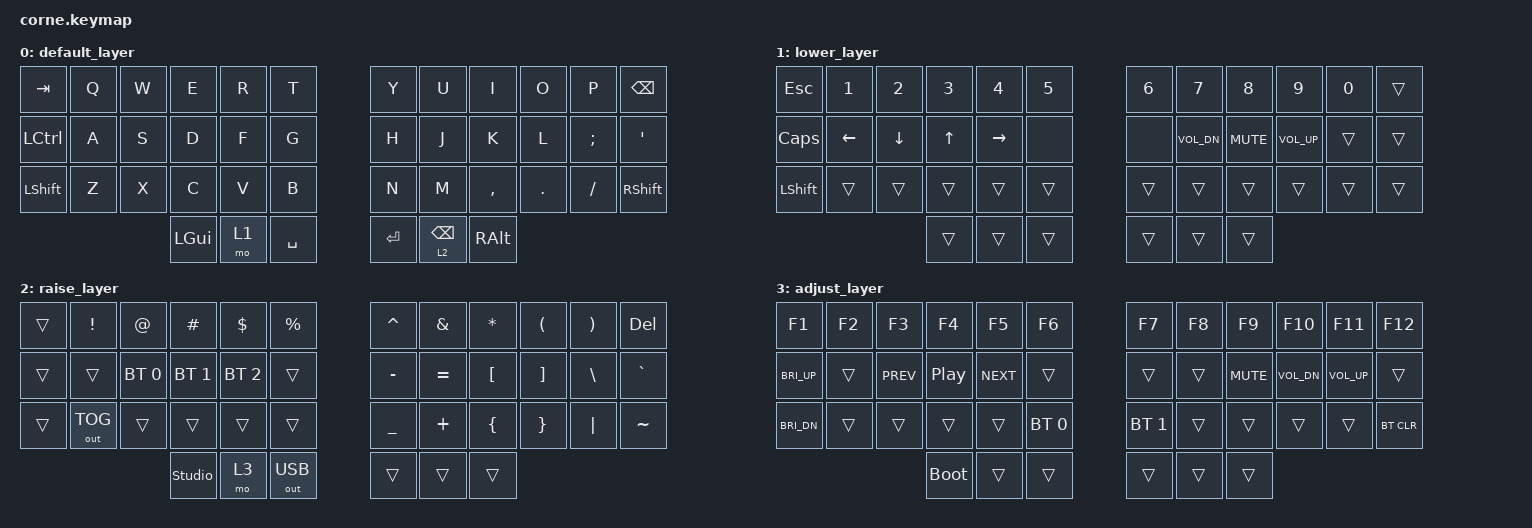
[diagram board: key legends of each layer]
/*
 * Copyright (c) 2020 The ZMK Contributors
 *
 * SPDX-License-Identifier: MIT
 */

#include <behaviors.dtsi>
#include <dt-bindings/zmk/bt.h>
#include <dt-bindings/zmk/keys.h>
#include <dt-bindings/zmk/outputs.h>

#define DEFAULT 0
#define LOWER   1
#define RAISE   2
#define ADJUST  3

/ {
    conditional_layers {
        compatible = "zmk,conditional-layers";

        // LOWER + RAISE 同按 -> ADJUST（F 键 / 媒体 / 蓝牙管理层）
        tri_layer {
            if-layers = <LOWER RAISE>;
            then-layer = <ADJUST>;
        };
    };

    keymap {
        compatible = "zmk,keymap";

        default_layer {
            // -----------------------------------------------------------------------------------------
            // |  TAB |  Q  |  W  |  E  |  R  |  T      |   |  Y         |  U         |  I  |  O  |  P  | BKSP |
            // | CTRL |  A  |  S  |  D  |  F  |  G      |   |  H         |  J         |  K  |  L  |  ;  |  '   |
            // | SHFT |  Z  |  X  |  C  |  V  |  B      |   |  N         |  M         |  ,  |  .  |  /  | SHFT |
            //                    | GUI | LWR |  SPC    |   | ENT        | BKSP/RSE   | ALT |
            //
            // 右侧第 2 枚拇指键（ENT 右边）：点按 = 退格，按住 = RAISE 层

            bindings = <
&kp TAB    &kp Q  &kp W  &kp E     &kp R  &kp T        &kp Y      &kp U            &kp I      &kp O    &kp P     &kp BSPC
&kp LCTRL  &kp A  &kp S  &kp D     &kp F  &kp G        &kp H      &kp J            &kp K      &kp L    &kp SEMI  &kp SQT
&kp LSHFT  &kp Z  &kp X  &kp C     &kp V  &kp B        &kp N      &kp M            &kp COMMA  &kp DOT  &kp FSLH  &kp RSHFT
                         &kp LGUI  &mo 1  &kp SPACE    &kp ENTER  &lt 2 BACKSPACE  &kp RALT
            >;
        };

        lower_layer {
            // -----------------------------------------------------------------------------------------
            // |  ESC |  1  |  2  |  3  |  4  |  5    |   |  6  |  7  |  8  |  9  |  0  | BKSP |
            // | CAPS | LFT | DWN |  UP | RGT |       |   | Vo- | MUT | Vo+ |     |     |      |
            // | SHFT |     |     |     |     |       |   |     |     |     |     |     |      |
            //                    | GUI |     | SPC   |   | ENT |     | ALT |

            bindings = <
&kp ESCAPE  &kp N1    &kp N2    &kp N3  &kp N4     &kp N5    &kp N6  &kp N7        &kp N8      &kp N9        &kp N0  &trans
&kp CAPS    &kp LEFT  &kp DOWN  &kp UP  &kp RIGHT  &none     &none   &kp C_VOL_DN  &kp C_MUTE  &kp C_VOL_UP  &trans  &trans
&kp LSHFT   &trans    &trans    &trans  &trans     &trans    &trans  &trans        &trans      &trans        &trans  &trans
                                &trans  &trans     &trans    &trans  &trans        &trans
            >;
        };

        raise_layer {
            // -----------------------------------------------------------------------------------------
            // |  TAB |  !  |  @  |  #  |  $  |  %  |   |  ^  |  &  |  *  |  (  |  )  |  DEL |
            // | CTRL |  A  | BT1 | BT2 | BT3 |     |   |  -  |  =  |  [  |  ]  |  \  |  `   |
            // | SHFT | OUT |     |     |     |     |   |  _  |  +  |  {  |  }  | "|" |  ~   |
            //                    | STUDIO | ->ADJ | USB |   | ENT |     | ALT |
            //
            // 左侧第 1 枚拇指键：解锁 DYA Studio；第 2 枚：按住进入 ADJUST 层；
            // 第 3 枚（Space 位）：切到 USB 输出（Studio USB 连接用）
            // （BT_CLR 移到了 ADJUST 层，避免误触清掉蓝牙配对）

            bindings = <
&trans  &kp EXCL     &kp AT        &kp HASH      &kp DLLR      &kp PRCNT    &kp CARET  &kp AMPS   &kp ASTERISK  &kp LPAR  &kp RPAR  &kp DEL
&trans  &trans       &bt BT_SEL 0  &bt BT_SEL 1  &bt BT_SEL 2  &trans       &kp MINUS  &kp EQUAL  &kp LBKT      &kp RBKT  &kp BSLH  &kp GRAVE
&trans  &out OUT_TOG  &trans        &trans        &trans        &trans       &kp UNDER  &kp PLUS   &kp LBRC      &kp RBRC  &kp PIPE  &kp TILDE
                                  &studio_unlock  &mo 3         &out OUT_USB  &trans     &trans     &trans
            >;
        };

        adjust_layer {
            // -----------------------------------------------------------------------------------------
            // |  F1 | F2 | F3 | F4 | F5 | F6  |   | F7  | F8  | F9  | F10 | F11 | F12   |
            // | bri+|    |prev| PP |next|     |   |     | MUT | Vo- | Vo+ |     |       |
            // | bri-|    |    |    |    | BT1 |   | BT2 |     |     |     |     | BTCLR |
            //                      | BTLDR |     |     |     |     |     |
            //
            // 进入方式：LOWER + RAISE 同按（conditional layer），或 RAISE 中按住左侧
            // 第 2 枚拇指键。左下角拇指键 = 进 bootloader（三键组合，不易误触）。

            bindings = <
&kp F1        &kp F2  &kp F3     &kp F4    &kp F5     &kp F6        &kp F7        &kp F8    &kp F9      &kp F10      &kp F11      &kp F12
&kp C_BRI_UP  &trans  &kp C_PREV &kp C_PP  &kp C_NEXT &trans        &trans        &trans    &kp C_MUTE  &kp C_VOL_DN &kp C_VOL_UP &trans
&kp C_BRI_DN  &trans  &trans     &trans    &trans     &bt BT_SEL 0  &bt BT_SEL 1  &trans    &trans      &trans       &trans       &bt BT_CLR
                                           &bootloader  &trans        &trans        &trans    &trans      &trans
            >;
        };
    };
};
